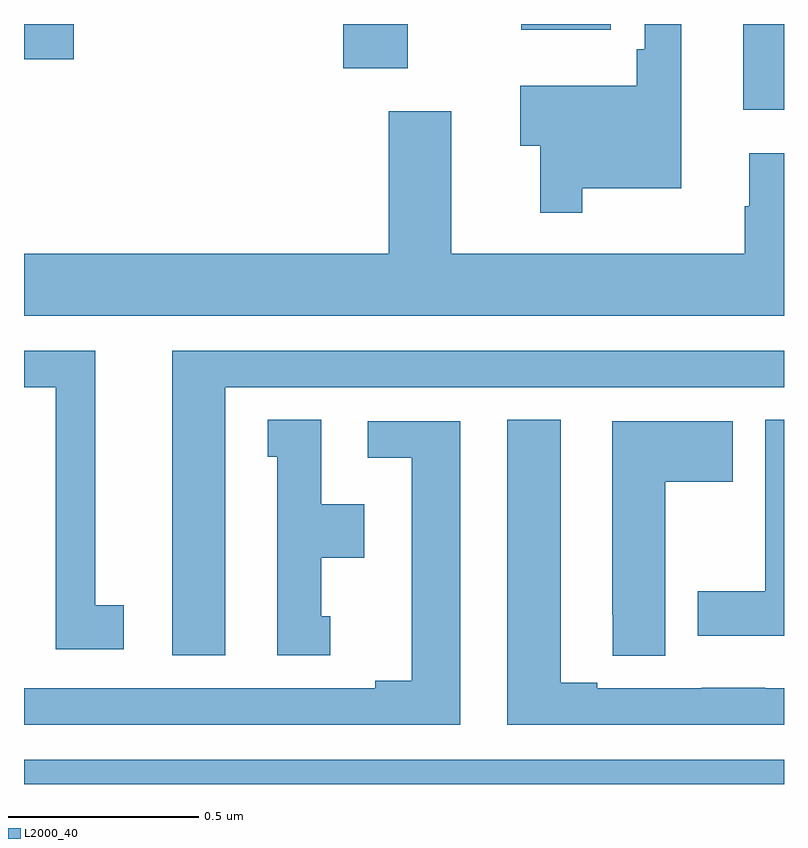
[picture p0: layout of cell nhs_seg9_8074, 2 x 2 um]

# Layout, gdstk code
import gdstk
lib = gdstk.Library(unit=1e-6, precision=1e-09)
def R(c, l, rs):  # rectangles x0, y0, x1, y1
    for r in rs: c.add(gdstk.rectangle(r[:2], r[2:], *l))
def P(c, l, *ps):  # polygons
    for p in ps: c.add(gdstk.Polygon(p, *l))
L2000_40 = (2000, 40)

nhs_seg9_8074 = lib.new_cell('nhs_seg9_8074')
R(nhs_seg9_8074, L2000_40, [(212,1216.5,214,1216.564), (213.893,1218.275,214,1218.5), (212.84,1218.384,213.01,1218.5), (212,1218.407,212.131,1218.5), (213.308,1218.485,213.544,1218.5)])
P(nhs_seg9_8074, L2000_40, [(213.469,1218.068),(213.73,1218.068),(213.73,1218.5),(213.633,1218.5),(213.633,1218.433),(213.613,1218.433),(213.613,1218.337),(213.306,1218.337),(213.306,1218.179),(213.358,1218.179),(213.358,1218.003),(213.469,1218.003)],
  [(214,1218.16),(213.908,1218.16),(213.908,1218.02),(213.897,1218.02),(213.897,1217.896),(213.124,1217.896),(213.124,1218.271),(212.96,1218.271),(212.96,1217.896),(212,1217.896),(212,1217.732),(214,1217.732)],
  [(212.53,1217.544),(214,1217.544),(214,1217.64),(212.39,1217.64),(212.39,1216.839),(212.53,1216.839)],
  [(212.263,1216.97),(212.188,1216.97),(212.188,1217.64),(212,1217.64),(212,1217.544),(212.084,1217.544),(212.084,1216.854),(212.263,1216.854)],
  [(214,1216.752),(213.95,1216.752),(213.95,1216.753),(213.784,1216.753),(213.784,1216.752),(213.508,1216.752),(213.508,1216.767),(213.412,1216.767),(213.412,1217.459),(213.272,1217.459),(213.272,1216.656),(214,1216.656)],
  [(214,1217.459),(213.95,1217.459),(213.95,1217.007),(213.773,1217.007),(213.773,1216.89),(214,1216.89)],
  [(212.806,1216.941),(212.782,1216.941),(212.782,1217.096),(212.896,1217.096),(212.896,1217.236),(212.782,1217.236),(212.782,1217.459),(212.642,1217.459),(212.642,1217.361),(212.666,1217.361),(212.666,1216.839),(212.806,1216.839)],
  [(213.688,1217.296),(213.865,1217.296),(213.865,1217.455),(213.548,1217.455),(213.548,1216.945),(213.549,1216.945),(213.549,1216.837),(213.688,1216.837)],
  [(213.148,1217.454),(212.904,1217.454),(212.904,1217.358),(213.02,1217.358),(213.02,1216.772),(212.924,1216.772),(212.924,1216.752),(212,1216.752),(212,1216.656),(213.148,1216.656)])

lib.write_gds('nhs_seg9_8074.gds')
